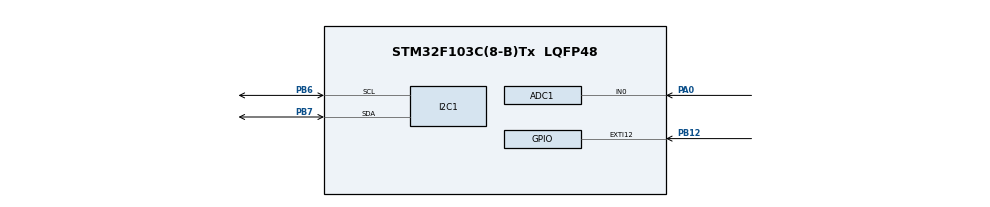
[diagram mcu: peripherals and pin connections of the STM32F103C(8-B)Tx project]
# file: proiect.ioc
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ADC1.Channel-0\#ChannelRegularConversion=ADC_CHANNEL_0
ADC1.ContinuousConvMode=ENABLE
ADC1.NbrOfConversion=1
ADC1.NbrOfConversionFlag=1
ADC1.Rank-0\#ChannelRegularConversion=1
ADC1.SamplingTime-0\#ChannelRegularConversion=ADC_SAMPLETIME_1CYCLE_5
ADC1.master=1
Mcu.Family=STM32F1
Mcu.Name=STM32F103C(8-B)Tx
Mcu.Package=LQFP48
NVIC.ADC1_2_IRQn=true\:0\:0\:false\:false\:true\:true\:true\:true
NVIC.PriorityGroup=NVIC_PRIORITYGROUP_4
PA0-WKUP.Signal=ADCx_IN0
PA13.Mode=Serial_Wire
PA13.Signal=SYS_JTMS-SWDIO
PA14.Mode=Serial_Wire
PA14.Signal=SYS_JTCK-SWCLK
PB12.Signal=GPXTI12
PB6.Mode=I2C
PB6.Signal=I2C1_SCL
PB7.Mode=I2C
PB7.Signal=I2C1_SDA
ProjectManager.HeapSize=0x200
ProjectManager.StackSize=0x400
ProjectManager.TargetToolchain=STM32CubeIDE
RCC.APB1Freq_Value=8000000
RCC.APB2Freq_Value=8000000
SH.ADCx_IN0.0=ADC1_IN0,IN0
board=custom

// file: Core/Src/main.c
/* USER CODE BEGIN Header */
/**
  ******************************************************************************
  * @file           : main.c
  * @brief          : Main program body
  ******************************************************************************
  * @attention
  *
  * Copyright (c) 2022 STMicroelectronics.
  * All rights reserved.
  *
  * This software is licensed under terms that can be found in the LICENSE file
  * in the root directory of this software component.
  * If no LICENSE file comes with this software, it is provided AS-IS.
  *
  ******************************************************************************
  */
/* USER CODE END Header */
#include "main.h"

/* USER CODE BEGIN Includes */
#include "i2c-lcd.h"
/* USER CODE END Includes */

 ADC_HandleTypeDef hadc1;

I2C_HandleTypeDef hi2c1;

void SystemClock_Config(void);
static void MX_GPIO_Init(void);
static void MX_ADC1_Init(void);
static void MX_I2C1_Init(void);

int main(void)
{
  /* USER CODE BEGIN 1 */
	uint16_t raw_data;
	uint16_t voltajepalabra[4];
	uint16_t voltajepalabra2[4];

  /* USER CODE END 1 */

  /* MCU Configuration--------------------------------------------------------*/

  /* Reset of all peripherals, Initializes the Flash interface and the Systick. */
  HAL_Init();

  /* Configure the system clock */
  SystemClock_Config();

  /* Initialize all configured peripherals */
  MX_GPIO_Init();
  MX_ADC1_Init();
  MX_I2C1_Init();
  /* USER CODE BEGIN 2 */
  HAL_ADC_Start(&hadc1); //START ADC

  float a;
  float V1;
  int A2=0,A3=0,A4=0;
  int N=4;
  float A1;

  float V2;
  a=0.000805; //Constante para transformar el voltaje obtenido en el ADC

  /* USER CODE END 2 */

  /* Infinite loop */
  /* USER CODE BEGIN WHILE */
  while (1)
  {

	  //ADC

		  HAL_ADC_PollForConversion(&hadc1, HAL_MAX_DELAY); //CONVIERTE LA DATA LEIDA
		  raw_data = HAL_ADC_GetValue(&hadc1);//se lee el valor convertido

	  //END ADC

      //Voltaje obtenido no filtrado

	     V1= raw_data*a;
	  //MEAN AVERAGE FILTER

	     A4=A3;
	 	 A3=A2;
	 	 A2=A1;
	 	 A1=V1;
	     V2 = (A1+A2+A3+A4)/N;
	 //End filter

	 //LCD

	  	    lcd_clear();   //THIS FUNCTION CLEAR THE LCD AND
	  	    HAL_Delay(1000);
	  	    lcd_init ();	//INITIALIZE THE LCD (** if the LCD is cleared, you need to initialize it again ***)

	  	    lcd_put_cur(0,0); //posicion
	  	    HAL_Delay(10);

	  	    lcd_send_string ("VOLTAJE [V]");

	  	  //Voltaje no filtrado emitido en el LCD

	  	   gcvt(V1, 4, voltajepalabra); //convierte el voltaje obtenido en palabra para ser leida en el LCD

	  	   lcd_put_cur(1,2); //posicion
	  	   lcd_send_string (voltajepalabra);//palabra a emitir

	  	//Voltaje filtrado emitido en el LCD

	  	   gcvt(V2, 4, voltajepalabra2);
	  	   lcd_put_cur(1,8);
	  	   lcd_send_string (voltajepalabra2);
	  	   HAL_Delay(1000);

    /* USER CODE END WHILE */

  }
}

void SystemClock_Config(void)
{
  RCC_OscInitTypeDef RCC_OscInitStruct = {0};
  RCC_ClkInitTypeDef RCC_ClkInitStruct = {0};
  RCC_PeriphCLKInitTypeDef PeriphClkInit = {0};

  /** Initializes the RCC Oscillators according to the specified parameters
  * in the RCC_OscInitTypeDef structure.
  */
  RCC_OscInitStruct.OscillatorType = RCC_OSCILLATORTYPE_HSI;
  RCC_OscInitStruct.HSIState = RCC_HSI_ON;
  RCC_OscInitStruct.HSICalibrationValue = RCC_HSICALIBRATION_DEFAULT;
  RCC_OscInitStruct.PLL.PLLState = RCC_PLL_NONE;
  if (HAL_RCC_OscConfig(&RCC_OscInitStruct) != HAL_OK)
  {
    Error_Handler();
  }

  /** Initializes the CPU, AHB and APB buses clocks
  */
  RCC_ClkInitStruct.ClockType = RCC_CLOCKTYPE_HCLK|RCC_CLOCKTYPE_SYSCLK
                              |RCC_CLOCKTYPE_PCLK1|RCC_CLOCKTYPE_PCLK2;
  RCC_ClkInitStruct.SYSCLKSource = RCC_SYSCLKSOURCE_HSI;
  RCC_ClkInitStruct.AHBCLKDivider = RCC_SYSCLK_DIV1;
  RCC_ClkInitStruct.APB1CLKDivider = RCC_HCLK_DIV1;
  RCC_ClkInitStruct.APB2CLKDivider = RCC_HCLK_DIV1;

  if (HAL_RCC_ClockConfig(&RCC_ClkInitStruct, FLASH_LATENCY_0) != HAL_OK)
  {
    Error_Handler();
  }
  PeriphClkInit.PeriphClockSelection = RCC_PERIPHCLK_ADC;
  PeriphClkInit.AdcClockSelection = RCC_ADCPCLK2_DIV2;
  if (HAL_RCCEx_PeriphCLKConfig(&PeriphClkInit) != HAL_OK)
  {
    Error_Handler();
  }
}

static void MX_ADC1_Init(void)
{

  ADC_ChannelConfTypeDef sConfig = {0};

  /** Common config
  */
  hadc1.Instance = ADC1;
  hadc1.Init.ScanConvMode = ADC_SCAN_DISABLE;
  hadc1.Init.ContinuousConvMode = ENABLE;
  hadc1.Init.DiscontinuousConvMode = DISABLE;
  hadc1.Init.ExternalTrigConv = ADC_SOFTWARE_START;
  hadc1.Init.DataAlign = ADC_DATAALIGN_RIGHT;
  hadc1.Init.NbrOfConversion = 1;
  if (HAL_ADC_Init(&hadc1) != HAL_OK)
  {
    Error_Handler();
  }

  /** Configure Regular Channel
  */
  sConfig.Channel = ADC_CHANNEL_0;
  sConfig.Rank = ADC_REGULAR_RANK_1;
  sConfig.SamplingTime = ADC_SAMPLETIME_1CYCLE_5;
  if (HAL_ADC_ConfigChannel(&hadc1, &sConfig) != HAL_OK)
  {
    Error_Handler();
  }

}

static void MX_I2C1_Init(void)
{

  hi2c1.Instance = I2C1;
  hi2c1.Init.ClockSpeed = 150000;
  hi2c1.Init.DutyCycle = I2C_DUTYCYCLE_2;
  hi2c1.Init.OwnAddress1 = 0;
  hi2c1.Init.AddressingMode = I2C_ADDRESSINGMODE_7BIT;
  hi2c1.Init.DualAddressMode = I2C_DUALADDRESS_DISABLE;
  hi2c1.Init.OwnAddress2 = 0;
  hi2c1.Init.GeneralCallMode = I2C_GENERALCALL_DISABLE;
  hi2c1.Init.NoStretchMode = I2C_NOSTRETCH_DISABLE;
  if (HAL_I2C_Init(&hi2c1) != HAL_OK)
  {
    Error_Handler();
  }

}

static void MX_GPIO_Init(void)
{
  GPIO_InitTypeDef GPIO_InitStruct = {0};

  /* GPIO Ports Clock Enable */
  __HAL_RCC_GPIOA_CLK_ENABLE();
  __HAL_RCC_GPIOB_CLK_ENABLE();

  /*Configure GPIO pin : PB12 */
  GPIO_InitStruct.Pin = GPIO_PIN_12;
  GPIO_InitStruct.Mode = GPIO_MODE_IT_RISING;
  GPIO_InitStruct.Pull = GPIO_NOPULL;
  HAL_GPIO_Init(GPIOB, &GPIO_InitStruct);

}

void Error_Handler(void)
{
  __disable_irq();
  while (1)
  {
  }
}
